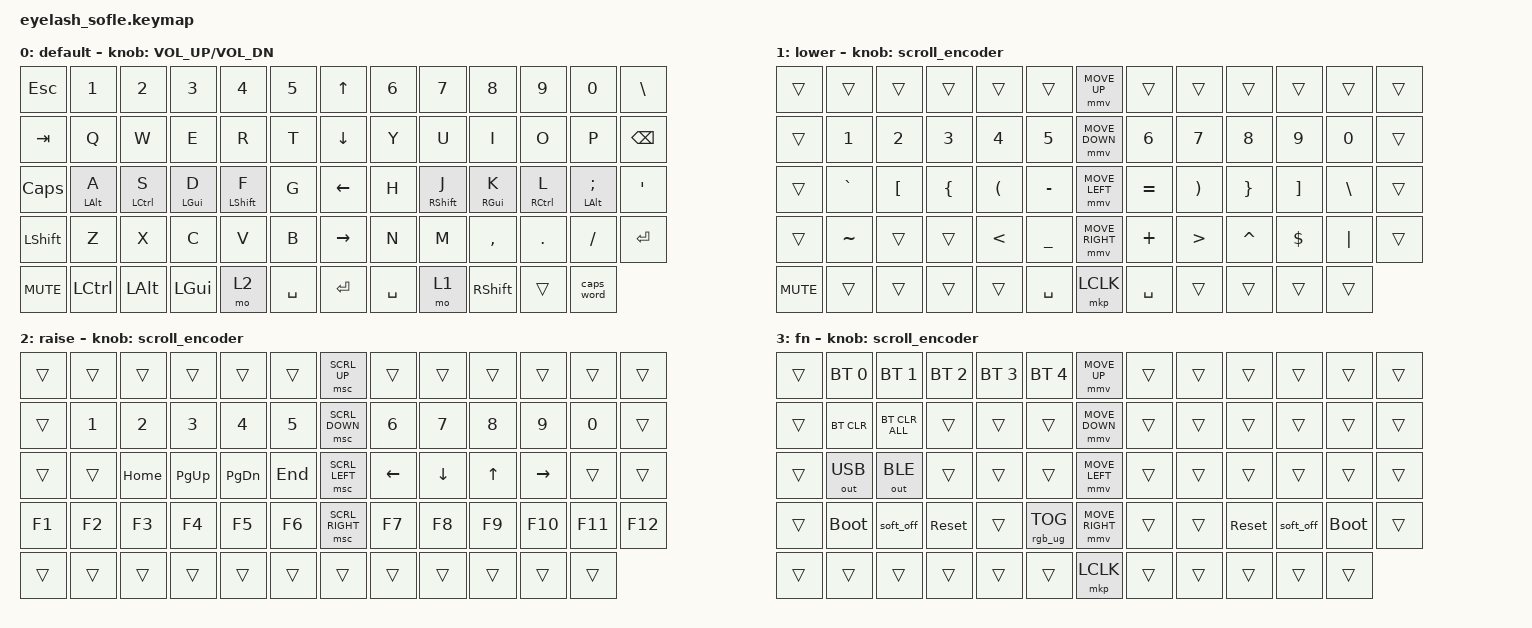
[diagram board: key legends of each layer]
#define ZMK_POINTING_DEFAULT_MOVE_VAL 1200  // 600
#define ZMK_POINTING_DEFAULT_SCRL_VAL 35    // 10

#include <input/processors.dtsi>
#include <zephyr/dt-bindings/input/input-event-codes.h>
#include <behaviors.dtsi>
#include <dt-bindings/zmk/bt.h>
#include <dt-bindings/zmk/keys.h>
#include <dt-bindings/zmk/outputs.h>
#include <dt-bindings/zmk/pointing.h>
#include <dt-bindings/zmk/pointing.h>
#include <dt-bindings/zmk/pointing.h>
#include <dt-bindings/zmk/rgb.h>

/ {
    zip_scroll_scaler: zip_scroll_scaler {
        compatible = "zmk,input-processor-scaler";
        #input-processor-cells = <2>;
        type = <INPUT_EV_REL>;
        codes = <INPUT_REL_WHEEL INPUT_REL_HWHEEL>;
        track-remainders;
    };
};

&mmv_input_listener { input-processors = <&zip_xy_scaler 2 1>; };

&msc_input_listener { input-processors = <&zip_scroll_scaler 2 1>; };

&msc {
    acceleration-exponent = <0>;      // 0
    time-to-max-speed-ms = <0>;       // 300
    delay-ms = <0>;                   // 0
};

&mmv {
    time-to-max-speed-ms = <400>;
    acceleration-exponent = <1>;
};

/ {
    scroll_encoder: scroll_encoder {
        compatible = "zmk,behavior-sensor-rotate";
        #sensor-binding-cells = <0>;
        bindings = <&msc SCRL_DOWN>, <&msc SCRL_UP>;

        tap-ms = <30>;
    };

    behaviors {
        hm: homerow_mods {
            compatible = "zmk,behavior-hold-tap";
            label = "HOMEROW_MODS";
            bindings = <&kp>, <&kp>;

            #binding-cells = <2>;
            tapping-term-ms = <200>;
            flavor = "tap-preferred";
            require-prior-idle-ms = <125>;
            quick-tap-ms = <200>;
        };

        shifthr: shifthr {
            compatible = "zmk,behavior-hold-tap";
            label = "SHIFTHR";
            bindings = <&kp>, <&kp>;

            #binding-cells = <2>;
            tapping-term-ms = <185>;
            flavor = "tap-preferred";
            quick-tap-ms = <185>;
        };

        weak: weak {
            compatible = "zmk,behavior-hold-tap";
            label = "WEAK";
            bindings = <&kp>, <&kp>;

            #binding-cells = <2>;
            tapping-term-ms = <230>;
            flavor = "tap-preferred";
            require-prior-idle-ms = <125>;
            quick-tap-ms = <230>;
        };

        backspace: backspace {
            compatible = "zmk,behavior-tap-dance";
            label = "BACKSPACE";
            #binding-cells = <0>;
            bindings = <&kp BACKSPACE>, <&kp LC(BACKSPACE)>;
        };
    };

    keymap {
        compatible = "zmk,keymap";

        default {
            bindings = <
&kp ESCAPE  &kp N1          &kp N2              &kp N3          &kp N4                 &kp N5       &kp UP_ARROW     &kp N6     &kp N7                  &kp N8           &kp N9               &kp N0                  &kp BACKSLASH
&kp TAB     &kp Q           &kp W               &kp E           &kp R                  &kp T        &kp DOWN_ARROW   &kp Y      &kp U                   &kp I            &kp O                &kp P                   &kp BACKSPACE
&kp CAPS    &hm LEFT_ALT A  &hm LEFT_CONTROL S  &hm LEFT_GUI D  &shifthr LEFT_SHIFT F  &kp G        &kp LEFT_ARROW   &kp H      &shifthr RIGHT_SHIFT J  &hm RIGHT_GUI K  &hm RIGHT_CONTROL L  &hm LEFT_ALT SEMICOLON  &kp APOS
&kp LSHFT   &kp Z           &kp X               &kp C           &kp V                  &kp B        &kp RIGHT_ARROW  &kp N      &kp M                   &kp COMMA        &kp DOT              &kp FSLH                &kp ENTER
&kp C_MUTE  &kp LCTRL       &kp LEFT_ALT        &kp LEFT_GUI    &mo 2                  &kp SPACE    &kp ENTER        &kp SPACE  &mo 1                   &kp RIGHT_SHIFT  &trans               &caps_word
            >;

            sensor-bindings = <&inc_dec_kp C_VOLUME_UP C_VOL_DN>;
            display-name = "default";
        };

        lower {
            bindings = <
&trans      &trans     &trans            &trans          &trans                &trans            &mmv MOVE_UP     &trans     &trans                 &trans           &trans             &trans         &trans
&trans      &kp N1     &kp N2            &kp N3          &kp N4                &kp N5            &mmv MOVE_DOWN   &kp N6     &kp N7                 &kp N8           &kp N9             &kp N0         &trans
&trans      &kp GRAVE  &kp LEFT_BRACKET  &kp LEFT_BRACE  &kp LEFT_PARENTHESIS  &kp MINUS         &mmv MOVE_LEFT   &kp EQUAL  &kp RIGHT_PARENTHESIS  &kp RIGHT_BRACE  &kp RIGHT_BRACKET  &kp BACKSLASH  &trans
&trans      &kp TILDE  &trans            &trans          &kp LESS_THAN         &kp UNDERSCORE    &mmv MOVE_RIGHT  &kp PLUS   &kp GREATER_THAN       &kp CARET        &kp DOLLAR         &kp PIPE       &trans
&kp C_MUTE  &trans     &trans            &trans          &trans                &kp SPACE         &mkp LCLK        &kp SPACE  &trans                 &trans           &trans             &trans
            >;

            display-name = "lower";
            sensor-bindings = <&scroll_encoder>;
        };

        raise {
            bindings = <
&trans  &trans  &trans    &trans       &trans         &trans     &msc SCRL_UP     &trans    &trans    &trans        &trans     &trans   &trans
&trans  &kp N1  &kp N2    &kp N3       &kp N4         &kp N5     &msc SCRL_DOWN   &kp N6    &kp N7    &kp N8        &kp N9     &kp N0   &trans
&trans  &trans  &kp HOME  &kp PAGE_UP  &kp PAGE_DOWN  &kp END    &msc SCRL_LEFT   &kp LEFT  &kp DOWN  &kp UP_ARROW  &kp RIGHT  &trans   &trans
&kp F1  &kp F2  &kp F3    &kp F4       &kp F5         &kp F6     &msc SCRL_RIGHT  &kp F7    &kp F8    &kp F9        &kp F10    &kp F11  &kp F12
&trans  &trans  &trans    &trans       &trans         &trans     &trans           &trans    &trans    &trans        &trans     &trans
            >;

            label = "raise";
            sensor-bindings = <&scroll_encoder>;
        };

        fn {
            bindings = <
&trans  &bt BT_SEL 0  &bt BT_SEL 1    &bt BT_SEL 2  &bt BT_SEL 3  &bt BT_SEL 4       &mmv MOVE_UP     &trans  &trans  &trans      &trans     &trans       &trans
&trans  &bt BT_CLR    &bt BT_CLR_ALL  &trans        &trans        &trans             &mmv MOVE_DOWN   &trans  &trans  &trans      &trans     &trans       &trans
&trans  &out OUT_USB  &out OUT_BLE    &trans        &trans        &trans             &mmv MOVE_LEFT   &trans  &trans  &trans      &trans     &trans       &trans
&trans  &bootloader   &soft_off       &sys_reset    &trans        &rgb_ug RGB_TOG    &mmv MOVE_RIGHT  &trans  &trans  &sys_reset  &soft_off  &bootloader  &trans
&trans  &trans        &trans          &trans        &trans        &trans             &mkp LCLK        &trans  &trans  &trans      &trans     &trans
            >;

            sensor-bindings = <&scroll_encoder>;
            label = "fn";
        };
    };

    conditional_layers {
        compatible = "zmk,conditional-layers";

        fn {
            if-layers = <1 2>;
            then-layer = <3>;
        };
    };
};
